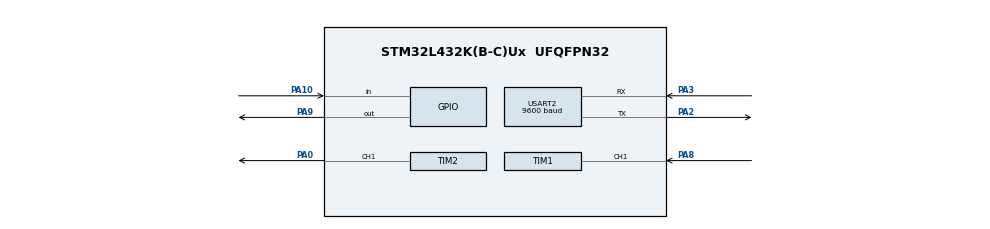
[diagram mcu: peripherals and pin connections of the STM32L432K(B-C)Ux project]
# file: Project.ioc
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Mcu.Family=STM32L4
Mcu.Name=STM32L432K(B-C)Ux
Mcu.Package=UFQFPN32
NVIC.PriorityGroup=NVIC_PRIORITYGROUP_4
NVIC.TIM1_CC_IRQn=true\:0\:0\:false\:false\:true\:true\:true\:true
NVIC.USART2_IRQn=true\:0\:0\:false\:false\:true\:true\:true\:true
PA0.Signal=S_TIM2_CH1
PA10.Signal=GPIO_Input
PA2.Mode=Asynchronous
PA2.Signal=USART2_TX
PA3.Mode=Asynchronous
PA3.Signal=USART2_RX
PA8.Signal=S_TIM1_CH1
PA9.Signal=GPIO_Output
ProjectManager.HeapSize=0x200
ProjectManager.StackSize=0x400
ProjectManager.TargetToolchain=MDK-ARM V5.32
RCC.HSE_VALUE=8000000
RCC.HSI48_VALUE=48000000
RCC.HSI_VALUE=16000000
RCC.LSE_VALUE=32768
RCC.MSI_VALUE=4000000
RCC.VCOOutputFreq_Value=32000000
SH.S_TIM1_CH1.0=TIM1_CH1,Input_Capture1_from_TI1
SH.S_TIM2_CH1.0=TIM2_CH1,PWM Generation1 CH1
TIM1.Channel-Input_Capture1_from_TI1=TIM_CHANNEL_1
TIM1.Prescaler=3999
TIM2.Channel-PWM\ Generation1\ CH1=TIM_CHANNEL_1
TIM2.Period=9999
TIM2.Prescaler=15
USART2.BaudRate=9600
USART2.VirtualMode-Asynchronous=VM_ASYNC
VP_TIM1_VS_ClockSourceINT.Mode=Internal
VP_TIM2_VS_ClockSourceINT.Mode=Internal
board=custom

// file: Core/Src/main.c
/* USER CODE BEGIN Header */
/**
  ******************************************************************************
  * @file           : main.c
  * @brief          : Main program body
  ******************************************************************************
  * @attention
  *
  * Copyright (c) 2022 STMicroelectronics.
  * All rights reserved.
  *
  * This software is licensed under terms that can be found in the LICENSE file
  * in the root directory of this software component.
  * If no LICENSE file comes with this software, it is provided AS-IS.
  *
  ******************************************************************************
  */
/* USER CODE END Header */
#include "main.h"

/* USER CODE BEGIN Includes */
#include <stdio.h>
/* USER CODE END Includes */

 TIM_HandleTypeDef htim1;
TIM_HandleTypeDef htim2;

UART_HandleTypeDef huart2;

void SystemClock_Config(void);
static void MX_GPIO_Init(void);
static void MX_USART2_UART_Init(void);
static void MX_TIM1_Init(void);
static void MX_TIM2_Init(void);

/* USER CODE BEGIN 0 */
char message[100];
char message3[250];
char message4[100];

int first = 0;		//to specify if it is the first time or not.
int sec = 0;
int flag = 0;
uint8_t byte;
uint8_t pass[4] = {1,2,3,4}, count = 0, input[4], now = 0, selection = 0;

/* USER CODE END 0 */

int main(void)
{

  /* MCU Configuration--------------------------------------------------------*/

  /* Reset of all peripherals, Initializes the Flash interface and the Systick. */
  HAL_Init();

  /* Configure the system clock */
  SystemClock_Config();

  /* Initialize all configured peripherals */
  MX_GPIO_Init();
  MX_USART2_UART_Init();
  MX_TIM1_Init();
  MX_TIM2_Init();
  /* USER CODE BEGIN 2 */

	HAL_TIM_Base_Start (&htim1);
	 HAL_TIM_PWM_Start (&htim2,  TIM_CHANNEL_1);
  /* USER CODE END 2 */

  /* Infinite loop */
  while (1)
  {
		/* USER CODE BEGIN 3 */

		if(first == 0){			//enter a new password, system always start with it
			sprintf(message,"Please enter the new password \r\n");
			HAL_UART_Transmit(&huart2, (const uint8_t *)message, sizeof(message), 100);

			for(int ii = 0; ii<4; ii++){		//loop to enter the password
				sprintf(message,"Please input digit %d for new password\r\n", ii+1);
				HAL_UART_Transmit(&huart2, (const uint8_t *)message, sizeof(message), 100);

				HAL_UART_Receive(&huart2, &byte, 1, 10000);		//take input
				//HAL_Delay(5000);
				pass[ii] = byte-'0';
			}

			sprintf(message,"New Password enterd successfully!   \n");
			HAL_UART_Transmit(&huart2, (const uint8_t *)message, sizeof(message), 100);

			first = 1;
		}
		else{						// there is an existing password so, update or open

			if(sec == 0){		//show for first time only
				sprintf(message3,"Do you want to update or enter password?\nClap once-->Update password\nClap twice-->Enter password\n");
				HAL_UART_Transmit(&huart2, (const uint8_t *)message3, sizeof(message3), 100);
				selection = 0;
				__HAL_TIM_SET_COUNTER(&htim1, 0);
				while(__HAL_TIM_GET_COUNTER(&htim1) < 10000)
				{
					if(HAL_GPIO_ReadPin(GPIOA, GPIO_PIN_10) == GPIO_PIN_SET)
					{
						selection++;
						HAL_Delay(75);
					}
				}
				sec = 1;
			}

			//if(flag || selection == 3) continue;

			if(selection == 0) {
				//flag = 1;
				char pausemsg[100];
				sprintf(pausemsg, "Input anything to restart system\n");
				HAL_UART_Transmit(&huart2, (const uint8_t *)pausemsg, sizeof(pausemsg), 100);
				__HAL_TIM_SET_COUNTER(&htim1, 0);
				while(1)
				{
					if(HAL_GPIO_ReadPin(GPIOA, GPIO_PIN_10) == GPIO_PIN_SET)
					{
						//flag = 0;
						sec = 0;
						break;
						HAL_Delay(75);
					}
				}
				continue;
			}

			//verify current password regardless of input

			sprintf(message4,"Please input current password digit %d\r\n", now+1);
			HAL_UART_Transmit(&huart2, (const uint8_t *)message4, sizeof(message4), 100);

			__HAL_TIM_SET_COUNTER(&htim1, 0);
			while(__HAL_TIM_GET_COUNTER(&htim1) < 5000)
			{
				if(HAL_GPIO_ReadPin(GPIOA, GPIO_PIN_10) == GPIO_PIN_SET)
				{
					count++;
					HAL_Delay(75);
				}
			}

			input[now] = count;
			sprintf(message,"Inputted number = %d\r\n", count);
			HAL_UART_Transmit(&huart2, (const uint8_t *)message, 22, 100);

			count = 0;
			now++;
			if(now == 4) {
				now = 0;
				if(pass[0] == input[0] && pass[1] == input[1] && pass[2] == input[2] && pass[3] == input[3])
				{
					uint8_t message1[100] = "Password Verified\r\n";
					HAL_UART_Transmit(&huart2, message1, sizeof(message1), 100);
					HAL_GPIO_WritePin(GPIOA, GPIO_PIN_9, GPIO_PIN_SET);		//buzzer
					HAL_Delay(1000);
					HAL_GPIO_WritePin(GPIOA, GPIO_PIN_9, GPIO_PIN_RESET);
					if(selection == 2)
					{
						for(int x=0; x<1250; x=x+1)						//for servo motor
						{
							__HAL_TIM_SET_COMPARE(&htim2,TIM_CHANNEL_1, x);
							if(x == 175){			//open and wait for 3 sec. then soft close the door
							HAL_Delay(3000);
							}
							HAL_Delay(10);
						}
					}
					else if(selection == 1)
					{
						for(int ii = 0; ii<4; ii++){		//loop to enter the password
						sprintf(message,"Please input digit %d for new password\r\n", ii+1);
						HAL_UART_Transmit(&huart2, (const uint8_t *)message, sizeof(message), 100);

						HAL_UART_Receive(&huart2, &byte, 1, 10000);		//take input
						//HAL_Delay(5000);
						pass[ii] = byte-'0';
						}

						sprintf(message,"New Password enterd successfully! \r\n");
						HAL_UART_Transmit(&huart2, (const uint8_t *)message, sizeof(message), 100);
					}
					else {
						sprintf(message,"Invalid input! \r\n");
						HAL_UART_Transmit(&huart2, (const uint8_t *)message, sizeof(message), 100);
					}
					selection = 0;
					sec = 0;
				}
				else {
					uint8_t message1[100] = "Password Incorrect\r\n";
					HAL_UART_Transmit(&huart2, message1, sizeof(message1), 100);
					int o = 0;
					while(o < 6){
						HAL_GPIO_WritePin(GPIOA, GPIO_PIN_9, GPIO_PIN_SET);
						HAL_Delay(250);
						HAL_GPIO_WritePin(GPIOA, GPIO_PIN_9, GPIO_PIN_RESET);
						HAL_Delay(100);
						o++;
					}
					selection = 0;
					sec = 0;
				}
			}
		}

		}
		/* USER CODE END 3 */
}

void SystemClock_Config(void)
{
  RCC_OscInitTypeDef RCC_OscInitStruct = {0};
  RCC_ClkInitTypeDef RCC_ClkInitStruct = {0};

  /** Configure the main internal regulator output voltage
  */
  if (HAL_PWREx_ControlVoltageScaling(PWR_REGULATOR_VOLTAGE_SCALE1) != HAL_OK)
  {
    Error_Handler();
  }

  /** Initializes the RCC Oscillators according to the specified parameters
  * in the RCC_OscInitTypeDef structure.
  */
  RCC_OscInitStruct.OscillatorType = RCC_OSCILLATORTYPE_MSI;
  RCC_OscInitStruct.MSIState = RCC_MSI_ON;
  RCC_OscInitStruct.MSICalibrationValue = 0;
  RCC_OscInitStruct.MSIClockRange = RCC_MSIRANGE_6;
  RCC_OscInitStruct.PLL.PLLState = RCC_PLL_NONE;
  if (HAL_RCC_OscConfig(&RCC_OscInitStruct) != HAL_OK)
  {
    Error_Handler();
  }

  /** Initializes the CPU, AHB and APB buses clocks
  */
  RCC_ClkInitStruct.ClockType = RCC_CLOCKTYPE_HCLK|RCC_CLOCKTYPE_SYSCLK
                              |RCC_CLOCKTYPE_PCLK1|RCC_CLOCKTYPE_PCLK2;
  RCC_ClkInitStruct.SYSCLKSource = RCC_SYSCLKSOURCE_MSI;
  RCC_ClkInitStruct.AHBCLKDivider = RCC_SYSCLK_DIV1;
  RCC_ClkInitStruct.APB1CLKDivider = RCC_HCLK_DIV1;
  RCC_ClkInitStruct.APB2CLKDivider = RCC_HCLK_DIV1;

  if (HAL_RCC_ClockConfig(&RCC_ClkInitStruct, FLASH_LATENCY_0) != HAL_OK)
  {
    Error_Handler();
  }
}

static void MX_TIM1_Init(void)
{

  TIM_ClockConfigTypeDef sClockSourceConfig = {0};
  TIM_MasterConfigTypeDef sMasterConfig = {0};
  TIM_IC_InitTypeDef sConfigIC = {0};

  htim1.Instance = TIM1;
  htim1.Init.Prescaler = 3999;
  htim1.Init.CounterMode = TIM_COUNTERMODE_UP;
  htim1.Init.Period = 65535;
  htim1.Init.ClockDivision = TIM_CLOCKDIVISION_DIV1;
  htim1.Init.RepetitionCounter = 0;
  htim1.Init.AutoReloadPreload = TIM_AUTORELOAD_PRELOAD_DISABLE;
  if (HAL_TIM_Base_Init(&htim1) != HAL_OK)
  {
    Error_Handler();
  }
  sClockSourceConfig.ClockSource = TIM_CLOCKSOURCE_INTERNAL;
  if (HAL_TIM_ConfigClockSource(&htim1, &sClockSourceConfig) != HAL_OK)
  {
    Error_Handler();
  }
  if (HAL_TIM_IC_Init(&htim1) != HAL_OK)
  {
    Error_Handler();
  }
  sMasterConfig.MasterOutputTrigger = TIM_TRGO_RESET;
  sMasterConfig.MasterOutputTrigger2 = TIM_TRGO2_RESET;
  sMasterConfig.MasterSlaveMode = TIM_MASTERSLAVEMODE_DISABLE;
  if (HAL_TIMEx_MasterConfigSynchronization(&htim1, &sMasterConfig) != HAL_OK)
  {
    Error_Handler();
  }
  sConfigIC.ICPolarity = TIM_INPUTCHANNELPOLARITY_RISING;
  sConfigIC.ICSelection = TIM_ICSELECTION_DIRECTTI;
  sConfigIC.ICPrescaler = TIM_ICPSC_DIV1;
  sConfigIC.ICFilter = 0;
  if (HAL_TIM_IC_ConfigChannel(&htim1, &sConfigIC, TIM_CHANNEL_1) != HAL_OK)
  {
    Error_Handler();
  }

}

static void MX_TIM2_Init(void)
{

  TIM_ClockConfigTypeDef sClockSourceConfig = {0};
  TIM_MasterConfigTypeDef sMasterConfig = {0};
  TIM_OC_InitTypeDef sConfigOC = {0};

  htim2.Instance = TIM2;
  htim2.Init.Prescaler = 15;
  htim2.Init.CounterMode = TIM_COUNTERMODE_UP;
  htim2.Init.Period = 9999;
  htim2.Init.ClockDivision = TIM_CLOCKDIVISION_DIV1;
  htim2.Init.AutoReloadPreload = TIM_AUTORELOAD_PRELOAD_DISABLE;
  if (HAL_TIM_Base_Init(&htim2) != HAL_OK)
  {
    Error_Handler();
  }
  sClockSourceConfig.ClockSource = TIM_CLOCKSOURCE_INTERNAL;
  if (HAL_TIM_ConfigClockSource(&htim2, &sClockSourceConfig) != HAL_OK)
  {
    Error_Handler();
  }
  if (HAL_TIM_PWM_Init(&htim2) != HAL_OK)
  {
    Error_Handler();
  }
  sMasterConfig.MasterOutputTrigger = TIM_TRGO_RESET;
  sMasterConfig.MasterSlaveMode = TIM_MASTERSLAVEMODE_DISABLE;
  if (HAL_TIMEx_MasterConfigSynchronization(&htim2, &sMasterConfig) != HAL_OK)
  {
    Error_Handler();
  }
  sConfigOC.OCMode = TIM_OCMODE_PWM1;
  sConfigOC.Pulse = 0;
  sConfigOC.OCPolarity = TIM_OCPOLARITY_HIGH;
  sConfigOC.OCFastMode = TIM_OCFAST_DISABLE;
  if (HAL_TIM_PWM_ConfigChannel(&htim2, &sConfigOC, TIM_CHANNEL_1) != HAL_OK)
  {
    Error_Handler();
  }
  HAL_TIM_MspPostInit(&htim2);

}

static void MX_USART2_UART_Init(void)
{

  huart2.Instance = USART2;
  huart2.Init.BaudRate = 9600;
  huart2.Init.WordLength = UART_WORDLENGTH_8B;
  huart2.Init.StopBits = UART_STOPBITS_1;
  huart2.Init.Parity = UART_PARITY_NONE;
  huart2.Init.Mode = UART_MODE_TX_RX;
  huart2.Init.HwFlowCtl = UART_HWCONTROL_NONE;
  huart2.Init.OverSampling = UART_OVERSAMPLING_16;
  huart2.Init.OneBitSampling = UART_ONE_BIT_SAMPLE_DISABLE;
  huart2.AdvancedInit.AdvFeatureInit = UART_ADVFEATURE_NO_INIT;
  if (HAL_UART_Init(&huart2) != HAL_OK)
  {
    Error_Handler();
  }

}

static void MX_GPIO_Init(void)
{
  GPIO_InitTypeDef GPIO_InitStruct = {0};

  /* GPIO Ports Clock Enable */
  __HAL_RCC_GPIOA_CLK_ENABLE();

  /*Configure GPIO pin Output Level */
  HAL_GPIO_WritePin(GPIOA, GPIO_PIN_9, GPIO_PIN_RESET);

  /*Configure GPIO pin : PA9 */
  GPIO_InitStruct.Pin = GPIO_PIN_9;
  GPIO_InitStruct.Mode = GPIO_MODE_OUTPUT_PP;
  GPIO_InitStruct.Pull = GPIO_NOPULL;
  GPIO_InitStruct.Speed = GPIO_SPEED_FREQ_LOW;
  HAL_GPIO_Init(GPIOA, &GPIO_InitStruct);

  /*Configure GPIO pin : PA10 */
  GPIO_InitStruct.Pin = GPIO_PIN_10;
  GPIO_InitStruct.Mode = GPIO_MODE_INPUT;
  GPIO_InitStruct.Pull = GPIO_NOPULL;
  HAL_GPIO_Init(GPIOA, &GPIO_InitStruct);

}

/* USER CODE BEGIN 4 */
void HAL_UART_RxCpltCallback(UART_HandleTypeDef *huart)
{
  if (huart->Instance == USART2)
  {
    /* Transmit one byte with 100 ms timeout */
		flag = 0;
		selection = 3;
		sec = 0;
    char stmsg[100];
		sprintf(stmsg, "System restarted\n");
		HAL_UART_Transmit(&huart2, (const uint8_t *)stmsg, sizeof(stmsg), 100);

    /* Receive one byte in interrupt mode */
  }
}
/* USER CODE END 4 */

void Error_Handler(void)
{
  __disable_irq();
  while (1)
  {
  }
}
